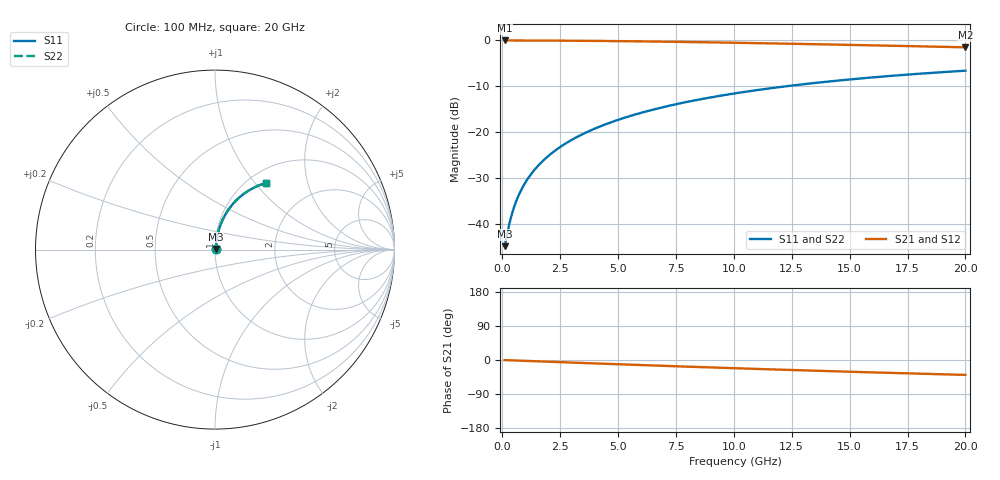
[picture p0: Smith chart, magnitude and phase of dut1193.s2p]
! Touchstone file exported from HFSS 2024.1.0
!  File:  C:/UserFiles/LocalFiles/RDL_TSV_Batchsim/temp_RDL_top_1193_1780049669.aedt
!  Generated:  06:16:49 PM May 29, 2026
!  Design:  RDL_top
!  Project:  temp_RDL_top_1193_1780049669
!  Setup:  Setup1
!  Solution:  Sweep
! Variables:
!  dtsv = 10.80580581um
!  hbump = 3um
!  htsv = 81.38um
!  ldown = 100um
!  lrdl = 483.42um
!  p = 40
!  p1 = 47.95um
!  rhole = 1um
!  t = 450um
!  tdown = 3.915915916um
!  trdl = 3.29um
!  wdown = 15.38538539um
!  wrdl = 10.65um
# GHz S MA R 50.000000
! Terminal data exported
! Port[1] = Box2_T1
! Port[2] = Box2_T2
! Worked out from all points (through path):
!   200 points, 100 MHz to 20 GHz, reference 50 ohm
!   highest |S21| = -0.04 dB at 100 MHz (marker M1); lowest = -1.5 dB at 20 GHz (marker M2)
!   group delay of S21, straight-line fit = 5.47 ps
!   lowest |S11| = -44.9 dB at 100 MHz (marker M3), VSWR 1.01, Z = 50.5 + j0.284 ohm
!   |S11| at or under -10 dB: start of sweep to 12.31 GHz
!   |S22| runs from -44.9 to -6.6 dB; largest |S21 - S12| = 3.5e-15
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0.1  0.00569 29.7  0.9951 -0.2  0.9951 -0.2  0.00569 29.7
! Gamma 0 0 0 0
! Port Impedance 50 0 50 0
0.3  0.009844 58.7  0.9949 -0.7  0.9949 -0.7  0.009844 58.7
0.4  0.01235 64.9  0.9948 -0.9  0.9948 -0.9  0.01235 64.9
0.5  0.01494 68.8  0.9947 -1.2  0.9947 -1.2  0.01494 68.8
0.6  0.01756 71.5  0.9945 -1.4  0.9945 -1.4  0.01756 71.5
0.7  0.02021 73.5  0.9944 -1.6  0.9944 -1.6  0.02021 73.5
0.9  0.02554 76.1  0.9941 -2.1  0.9941 -2.1  0.02554 76.1
1.2  0.03357 78.3  0.9936 -2.8  0.9936 -2.8  0.03357 78.3
1.4  0.03895 79.1  0.9932 -3.2  0.9932 -3.2  0.03895 79.1
1.7  0.04702 79.9  0.9925 -3.9  0.9925 -3.9  0.04703 79.9
2.2  0.06051 80.4  0.9912 -5.0  0.9912 -5.0  0.06052 80.4
2.8  0.0767 80.3  0.9893 -6.4  0.9893 -6.4  0.07671 80.3
3.5  0.09555 79.8  0.9865 -7.9  0.9865 -7.9  0.09555 79.8
4.2  0.1143 79.0  0.9831 -9.5  0.9831 -9.5  0.1143 79.0
5  0.1356 77.8  0.9787 -11.2  0.9787 -11.2  0.1356 77.9
5.9  0.1593 76.4  0.9731 -13.2  0.9731 -13.2  0.1593 76.5
6.8  0.1827 75.0  0.9668 -15.1  0.9668 -15.1  0.1827 75.0
8.3  0.2209 72.4  0.955 -18.2  0.955 -18.2  0.2209 72.4
10.1  0.265 69.2  0.9392 -21.8  0.9392 -21.8  0.265 69.2
13.4  0.3402 63.4  0.907 -28.1  0.907 -28.1  0.3403 63.4
16.7  0.4073 57.9  0.8727 -33.9  0.8727 -33.9  0.4074 57.9
20  0.4659 52.7  0.8377 -39.3  0.8377 -39.3  0.4661 52.7
